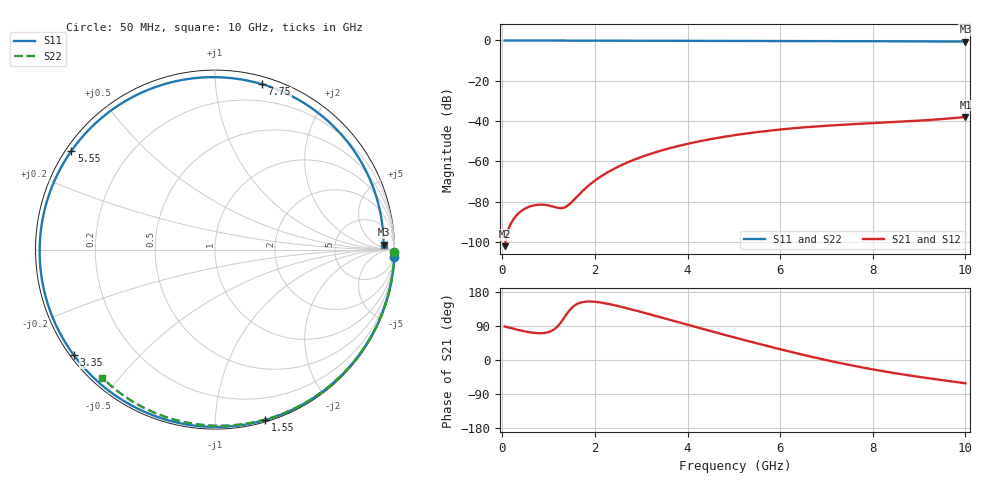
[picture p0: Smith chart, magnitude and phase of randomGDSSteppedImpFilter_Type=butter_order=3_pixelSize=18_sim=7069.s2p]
! freq	dB(S11)	phase(S11)	dB(S12)	phase(S12)
!  dB(S21)	phase(S21)	dB(S22)	phase(S22)
!S-par simulation data
#  GHz  S  DB  R 50
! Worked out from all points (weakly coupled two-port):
!   200 points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, 50 MHz to 10 GHz, reference 50 ohm
!   highest |S21| = -38.00 dB at 10 GHz (marker M1); lowest = -102.1 dB at 50 MHz (marker M2)
!   lowest |S11| = -0.5 dB at 10 GHz (marker M3), VSWR 31.95, Z = 1.32e+03 + j601 ohm
!   |S11| at or under -10 dB: nowhere
!   |S22| runs from -0.4 to 0.0 dB; largest |S21 - S12| = 0
!   S11 on the Smith chart (normalised r, x): 50 MHz: 0, -45; 1.55 GHz: 0.01, -1.33; 3.35 GHz: 0.01, -0.33; 5.55 GHz: 0.02, +0.31; 7.75 GHz: 0.06, +1.32; 10 GHz: 26, +12
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0.05  -0.00 -2.5  -102.12 88.4  -102.12 88.4  -0.00 -0.8
0.45  -0.03 -22.3  -84.05 76.4  -84.05 76.4  -0.01 -6.8
0.85  -0.05 -41.7  -81.50 70.8  -81.50 70.8  -0.02 -12.8
1.2  -0.07 -58.0  -83.09 89.6  -83.09 89.6  -0.02 -18.0
1.5  -0.09 -71.5  -80.20 137.6  -80.20 137.6  -0.03 -22.5
1.55  -0.09 -73.7  -79.02 142.8  -79.02 142.8  -0.03 -23.2
1.75  -0.10 -82.3  -74.36 153.1  -74.36 153.1  -0.03 -26.2
2.05  -0.11 -94.7  -68.74 153.0  -68.74 153.0  -0.04 -30.6
2.4  -0.12 -108.6  -63.85 145.2  -63.85 145.2  -0.05 -35.7
2.9  -0.14 -127.3  -58.71 129.9  -58.71 129.9  -0.06 -42.8
3.35  -0.16 -143.2  -55.21 115.0  -55.21 115.0  -0.07 -49.2
3.4  -0.16 -145.0  -54.86 113.3  -54.86 113.3  -0.07 -49.9
4.2  -0.19 -171.6  -50.33 86.3  -50.33 86.3  -0.09 -60.9
5.05  -0.23 161.3  -46.90 58.3  -46.90 58.3  -0.11 -72.2
5.55  -0.26 145.5  -45.36 42.3  -45.36 42.3  -0.13 -78.6
6.15  -0.29 126.4  -43.88 23.8  -43.88 23.8  -0.15 -86.2
6.7  -0.32 108.7  -42.82 7.9  -42.82 7.9  -0.18 -93.0
7.25  -0.35 90.7  -41.98 -6.9  -41.98 -6.9  -0.21 -99.7
7.75  -0.37 74.2  -41.35 -19.2  -41.35 -19.2  -0.24 -105.6
8.35  -0.41 54.4  -40.65 -32.2  -40.65 -32.2  -0.29 -112.6
9.2  -0.46 26.6  -39.52 -48.1  -39.52 -48.1  -0.36 -122.3
10  -0.54 1.6  -38.00 -61.5  -38.00 -61.5  -0.44 -131.3
